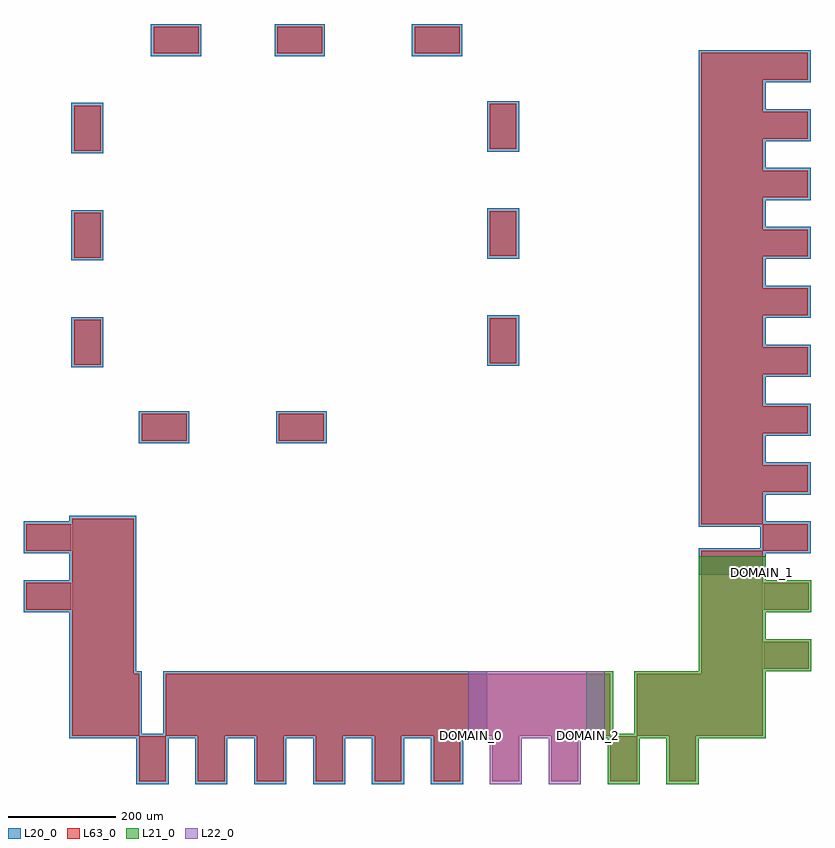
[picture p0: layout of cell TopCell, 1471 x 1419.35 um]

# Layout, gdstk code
import gdstk
lib = gdstk.Library(unit=1e-6, precision=1e-09)
def R(c, l, rs):  # rectangles x0, y0, x1, y1
    for r in rs: c.add(gdstk.rectangle(r[:2], r[2:], *l))
def A(c, l, x, y, w, h, nx, ny, dx, dy):  # array of equal rectangles
    R(c, l, [(x+i*dx, y+j*dy, x+i*dx+w, y+j*dy+h) for i in range(nx) for j in range(ny)])
L20_0 = (20, 0)
L21_0 = (21, 0)
L22_0 = (22, 0)
L63_0 = (63, 0)

bottompads = lib.new_cell('BottomPads')
A(bottompads, L63_0, 210.5, 0, 50, 84, 10, 1, 110, 0)
A(bottompads, L63_0, 260.26, 85.5, 20.48, 115, 3, 1, 20, 0)
A(bottompads, L63_0, 320.26, 85.5, 50.48, 115, 7, 1, 110, 0)
A(bottompads, L63_0, 370.26, 85.5, 20.48, 115, 3, 1, 20, 0)
A(bottompads, L63_0, 480.26, 85.5, 20.48, 115, 3, 1, 20, 0)
A(bottompads, L63_0, 590.26, 85.5, 20.48, 115, 3, 1, 20, 0)
A(bottompads, L63_0, 700.26, 85.5, 20.48, 115, 3, 1, 20, 0)
A(bottompads, L63_0, 920.26, 85.5, 20.48, 115, 3, 1, 20, 0)
A(bottompads, L63_0, 1140.26, 85.5, 20.48, 115, 3, 1, 20, 0)
R(bottompads, L63_0, [(85.5,85.5,200.74,200.74), (200.26,85.5,210.74,200.5), (810.26,85.5,830.74,200.5), (830.5,85.5,855.5,200.5), (855.26,85.5,860.74,200.5), (860.26,85.5,870.74,200.5), (1030.26,85.5,1050.74,200.5), (1050.5,85.5,1075.5,200.5), (1075.26,85.5,1080.74,200.5), (1080.26,85.5,1090.74,200.5), (1200.26,85.5,1250.74,200.5), (1250.26,85.5,1260.74,200.5), (1260.26,85.5,1375.5,200.74)])
bottompads.add(gdstk.Label('PAD50LA', (370.5,0), layer=10, texttype=0))
bottompads.add(gdstk.Label('PAD50LA', (480.5,0), layer=10, texttype=0))
bottompads.add(gdstk.Label('PAD50LA', (1140.5,0), layer=10, texttype=0))
bottompads.add(gdstk.Label('PAD50LA', (1030.5,0), layer=10, texttype=0))
bottompads.add(gdstk.Label('PAD50LA', (920.5,0), layer=10, texttype=0))
bottompads.add(gdstk.Label('PAD50LA', (810.5,0), layer=10, texttype=0))
bottompads.add(gdstk.Label('PAD50LA', (590.5,0), layer=10, texttype=0))
bottompads.add(gdstk.Label('PAD50LA', (1250.5,0), layer=10, texttype=0))
bottompads.add(gdstk.Label('PAD50LA', (260.5,0), layer=10, texttype=0))
bottompads.add(gdstk.Label('PAD50LA', (700.5,0), layer=10, texttype=0))
bottompads.add(gdstk.Label('PCORNERA', (85.5,85.5), layer=10, texttype=0))
bottompads.add(gdstk.Label('PCORNERA', (1375.5,85.5), layer=10, texttype=0))
bottompads.add(gdstk.Label('PDB1AC', (650.5,85.5), layer=10, texttype=0))
bottompads.add(gdstk.Label('PFILLER10A', (200.5,85.5), layer=10, texttype=0))
bottompads.add(gdstk.Label('PFILLER10A', (860.5,85.5), layer=10, texttype=0))
bottompads.add(gdstk.Label('PFILLER10A', (1250.5,85.5), layer=10, texttype=0))
bottompads.add(gdstk.Label('PFILLER10A', (1080.5,85.5), layer=10, texttype=0))
bottompads.add(gdstk.Label('PFILLER20A', (720.5,85.5), layer=10, texttype=0))
bottompads.add(gdstk.Label('PFILLER20A', (810.5,85.5), layer=10, texttype=0))
bottompads.add(gdstk.Label('PFILLER20A', (1030.5,85.5), layer=10, texttype=0))
bottompads.add(gdstk.Label('PFILLER20A', (1180.5,85.5), layer=10, texttype=0))
bottompads.add(gdstk.Label('PFILLER20A', (1160.5,85.5), layer=10, texttype=0))
bottompads.add(gdstk.Label('PFILLER20A', (1140.5,85.5), layer=10, texttype=0))
bottompads.add(gdstk.Label('PFILLER20A', (410.5,85.5), layer=10, texttype=0))
bottompads.add(gdstk.Label('PFILLER20A', (390.5,85.5), layer=10, texttype=0))
bottompads.add(gdstk.Label('PFILLER20A', (370.5,85.5), layer=10, texttype=0))
bottompads.add(gdstk.Label('PFILLER20A', (630.5,85.5), layer=10, texttype=0))
bottompads.add(gdstk.Label('PFILLER20A', (610.5,85.5), layer=10, texttype=0))
bottompads.add(gdstk.Label('PFILLER20A', (590.5,85.5), layer=10, texttype=0))
bottompads.add(gdstk.Label('PFILLER20A', (960.5,85.5), layer=10, texttype=0))
bottompads.add(gdstk.Label('PFILLER20A', (940.5,85.5), layer=10, texttype=0))
bottompads.add(gdstk.Label('PFILLER20A', (700.5,85.5), layer=10, texttype=0))
bottompads.add(gdstk.Label('PFILLER20A', (920.5,85.5), layer=10, texttype=0))
bottompads.add(gdstk.Label('PFILLER20A', (520.5,85.5), layer=10, texttype=0))
bottompads.add(gdstk.Label('PFILLER20A', (500.5,85.5), layer=10, texttype=0))
bottompads.add(gdstk.Label('PFILLER20A', (480.5,85.5), layer=10, texttype=0))
bottompads.add(gdstk.Label('PFILLER20A', (300.5,85.5), layer=10, texttype=0))
bottompads.add(gdstk.Label('PFILLER20A', (280.5,85.5), layer=10, texttype=0))
bottompads.add(gdstk.Label('PFILLER20A', (260.5,85.5), layer=10, texttype=0))
bottompads.add(gdstk.Label('PFILLER20A', (740.5,85.5), layer=10, texttype=0))
bottompads.add(gdstk.Label('PFILLER5A', (855.5,85.5), layer=10, texttype=0))
bottompads.add(gdstk.Label('PFILLER5A', (1075.5,85.5), layer=10, texttype=0))
bottompads.add(gdstk.Label('PRCUTA', (830.5,85.5), layer=10, texttype=0))
bottompads.add(gdstk.Label('PRCUTA', (1050.5,85.5), layer=10, texttype=0))
bottompads.add(gdstk.Label('PVDD3AC', (980.5,85.5), layer=10, texttype=0))
bottompads.add(gdstk.Label('PVDD3AC', (320.5,85.5), layer=10, texttype=0))
bottompads.add(gdstk.Label('PVDD3AC', (760.5,85.5), layer=10, texttype=0))
bottompads.add(gdstk.Label('PVDD3AC', (1200.5,85.5), layer=10, texttype=0))
bottompads.add(gdstk.Label('PVDD3AC', (540.5,85.5), layer=10, texttype=0))
bottompads.add(gdstk.Label('PVSS3AC', (870.5,85.5), layer=10, texttype=0))
bottompads.add(gdstk.Label('PVSS3AC', (430.5,85.5), layer=10, texttype=0))

leftpads = lib.new_cell('LeftPads')
A(leftpads, L63_0, 85.5, 210.26, 115, 50.48, 1, 3, 0, 110)
A(leftpads, L63_0, 85.5, 260.26, 115, 20.48, 1, 3, 0, 20)
A(leftpads, L63_0, 85.5, 370.26, 115, 20.48, 1, 3, 0, 20)
A(leftpads, L63_0, 88.995, 777.955, 50, 84, 1, 3, 0, 200)
R(leftpads, L63_0, [(85.5,200.26,200.5,210.74), (0,320.5,84,370.5), (0,430.5,84,480.5), (85.5,480.26,200.5,490.74), (215.37,636.395,299.37,686.395), (471.75,636.395,555.75,686.395)])
leftpads.add(gdstk.Label('PAD50LA', (84,430.5), layer=10, texttype=0))
leftpads.add(gdstk.Label('PAD50LA', (84,320.5), layer=10, texttype=0))
leftpads.add(gdstk.Label('PDB1AC', (85.5,430.5), layer=10, texttype=0))
leftpads.add(gdstk.Label('PDB1AC', (85.5,320.5), layer=10, texttype=0))
leftpads.add(gdstk.Label('PFILLER10A', (200.5,480.5), layer=10, texttype=0))
leftpads.add(gdstk.Label('PFILLER10A', (85.5,210.5), layer=10, texttype=0))
leftpads.add(gdstk.Label('PFILLER20A', (85.5,300.5), layer=10, texttype=0))
leftpads.add(gdstk.Label('PFILLER20A', (85.5,280.5), layer=10, texttype=0))
leftpads.add(gdstk.Label('PFILLER20A', (85.5,260.5), layer=10, texttype=0))
leftpads.add(gdstk.Label('PFILLER20A', (85.5,370.5), layer=10, texttype=0))
leftpads.add(gdstk.Label('PFILLER20A', (85.5,390.5), layer=10, texttype=0))
leftpads.add(gdstk.Label('PFILLER20A', (85.5,410.5), layer=10, texttype=0))
leftpads.add(gdstk.Label('PAD50LAR_TRL', (88.995,861.955), layer=10, texttype=0))
leftpads.add(gdstk.Label('PAD50LAR_TRL', (88.995,1061.955), layer=10, texttype=0))
leftpads.add(gdstk.Label('PAD50LAR_TRL', (88.995,1261.955), layer=10, texttype=0))
leftpads.add(gdstk.Label('PAD50LAR_TRL', (215.37,636.395), layer=10, texttype=0))
leftpads.add(gdstk.Label('PAD50LAR_TRL', (471.75,636.395), layer=10, texttype=0))
leftpads.add(gdstk.Label('PVDD3AC', (85.5,210.5), layer=10, texttype=0))

rightpads = lib.new_cell('RightPads')
A(rightpads, L63_0, 1260.5, 260.26, 115, 20.48, 1, 3, 0, 20)
A(rightpads, L63_0, 1375.5, 430.5, 84, 50, 1, 9, 0, 110)
A(rightpads, L63_0, 1260.5, 480.26, 115, 20.48, 1, 3, 0, 20)
A(rightpads, L63_0, 1260.5, 540.26, 115, 50.48, 1, 8, 0, 110)
A(rightpads, L63_0, 1260.5, 590.26, 115, 20.48, 1, 3, 0, 20)
A(rightpads, L63_0, 1260.5, 700.26, 115, 20.48, 1, 3, 0, 20)
A(rightpads, L63_0, 1260.5, 810.26, 115, 20.48, 1, 3, 0, 20)
A(rightpads, L63_0, 1260.5, 920.26, 115, 20.48, 1, 3, 0, 20)
A(rightpads, L63_0, 1260.5, 1030.26, 115, 20.48, 1, 3, 0, 20)
A(rightpads, L63_0, 1260.5, 1140.26, 115, 20.48, 1, 3, 0, 20)
A(rightpads, L63_0, 1260.5, 1250.26, 115, 20.48, 1, 3, 0, 20)
R(rightpads, L63_0, [(1260.5,200.26,1375.5,210.74), (1260.5,210.26,1375.5,260.74), (1377,210.5,1461,260.5), (1260.5,320.26,1375.5,370.74), (1377,320.5,1461,370.5), (1260.5,370.26,1375.5,390.74), (1260.5,390.5,1375.5,415.5), (1260.5,415.26,1375.5,420.74), (1260.5,420.26,1375.5,430.74), (865.345,781.09,915.345,865.09)])
rightpads.add(gdstk.Label('PAD50LA', (1377,210.5), layer=10, texttype=0))
rightpads.add(gdstk.Label('PAD50LA', (1377,320.5), layer=10, texttype=0))
rightpads.add(gdstk.Label('PDB1AC', (1375.5,210.5), layer=10, texttype=0))
rightpads.add(gdstk.Label('PDB1AC', (1375.5,320.5), layer=10, texttype=0))
rightpads.add(gdstk.Label('PFILLER10A', (1375.5,420.5), layer=10, texttype=0))
rightpads.add(gdstk.Label('PFILLER10A', (1375.5,200.5), layer=10, texttype=0))
rightpads.add(gdstk.Label('PFILLER20A', (1375.5,300.5), layer=10, texttype=0))
rightpads.add(gdstk.Label('PFILLER20A', (1375.5,280.5), layer=10, texttype=0))
rightpads.add(gdstk.Label('PFILLER20A', (1375.5,260.5), layer=10, texttype=0))
rightpads.add(gdstk.Label('PFILLER20A', (1375.5,370.5), layer=10, texttype=0))
rightpads.add(gdstk.Label('PFILLER5A', (1375.5,415.5), layer=10, texttype=0))
rightpads.add(gdstk.Label('PAD50LAR_TRL', (865.345,865.09), layer=10, texttype=0))
rightpads.add(gdstk.Label('PRCUTA', (1375.5,390.5), layer=10, texttype=0))
rightpads.add(gdstk.Label('PAD50LAR_TRL', (1375.5,590.5), layer=10, texttype=0))
rightpads.add(gdstk.Label('PAD50LAR_TRL', (1375.5,700.5), layer=10, texttype=0))
rightpads.add(gdstk.Label('PAD50LAR_TRL', (1375.5,810.5), layer=10, texttype=0))
rightpads.add(gdstk.Label('PAD50LAR_TRL', (1375.5,920.5), layer=10, texttype=0))
rightpads.add(gdstk.Label('PAD50LAR_TRL', (1375.5,1030.5), layer=10, texttype=0))
rightpads.add(gdstk.Label('PAD50LAR_TRL', (1375.5,1140.5), layer=10, texttype=0))
rightpads.add(gdstk.Label('PAD50LAR_TRL', (1375.5,1250.5), layer=10, texttype=0))
rightpads.add(gdstk.Label('PAD50LAR_TRL', (1375.5,1360.5), layer=10, texttype=0))
rightpads.add(gdstk.Label('PAD50LAR_TRL', (1375.5,480.5), layer=10, texttype=0))
rightpads.add(gdstk.Label('PDB2AC', (1375.5,1360.5), layer=10, texttype=0))
rightpads.add(gdstk.Label('PDB2AC', (1375.5,700.5), layer=10, texttype=0))
rightpads.add(gdstk.Label('PDB2AC', (1375.5,810.5), layer=10, texttype=0))
rightpads.add(gdstk.Label('PDB2AC', (1375.5,1030.5), layer=10, texttype=0))
rightpads.add(gdstk.Label('PDB2AC', (1375.5,1140.5), layer=10, texttype=0))
rightpads.add(gdstk.Label('PDB2AC', (1375.5,1250.5), layer=10, texttype=0))
rightpads.add(gdstk.Label('PFILLER20A', (1375.5,1140.5), layer=10, texttype=0))
rightpads.add(gdstk.Label('PFILLER20A', (1375.5,1160.5), layer=10, texttype=0))
rightpads.add(gdstk.Label('PFILLER20A', (1375.5,1180.5), layer=10, texttype=0))
rightpads.add(gdstk.Label('PFILLER20A', (1375.5,1050.5), layer=10, texttype=0))
rightpads.add(gdstk.Label('PFILLER20A', (1375.5,1030.5), layer=10, texttype=0))
rightpads.add(gdstk.Label('PFILLER20A', (1375.5,1070.5), layer=10, texttype=0))
rightpads.add(gdstk.Label('PFILLER20A', (1375.5,940.5), layer=10, texttype=0))
rightpads.add(gdstk.Label('PFILLER20A', (1375.5,920.5), layer=10, texttype=0))
rightpads.add(gdstk.Label('PFILLER20A', (1375.5,960.5), layer=10, texttype=0))
rightpads.add(gdstk.Label('PFILLER20A', (1375.5,810.5), layer=10, texttype=0))
rightpads.add(gdstk.Label('PFILLER20A', (1375.5,830.5), layer=10, texttype=0))
rightpads.add(gdstk.Label('PFILLER20A', (1375.5,850.5), layer=10, texttype=0))
rightpads.add(gdstk.Label('PFILLER20A', (1375.5,700.5), layer=10, texttype=0))
rightpads.add(gdstk.Label('PFILLER20A', (1375.5,720.5), layer=10, texttype=0))
rightpads.add(gdstk.Label('PFILLER20A', (1375.5,740.5), layer=10, texttype=0))
rightpads.add(gdstk.Label('PFILLER20A', (1375.5,590.5), layer=10, texttype=0))
rightpads.add(gdstk.Label('PFILLER20A', (1375.5,610.5), layer=10, texttype=0))
rightpads.add(gdstk.Label('PFILLER20A', (1375.5,630.5), layer=10, texttype=0))
rightpads.add(gdstk.Label('PFILLER20A', (1375.5,480.5), layer=10, texttype=0))
rightpads.add(gdstk.Label('PFILLER20A', (1375.5,500.5), layer=10, texttype=0))
rightpads.add(gdstk.Label('PFILLER20A', (1375.5,520.5), layer=10, texttype=0))
rightpads.add(gdstk.Label('PFILLER20A', (1375.5,1290.5), layer=10, texttype=0))
rightpads.add(gdstk.Label('PFILLER20A', (1375.5,1250.5), layer=10, texttype=0))
rightpads.add(gdstk.Label('PFILLER20A', (1375.5,1270.5), layer=10, texttype=0))
rightpads.add(gdstk.Label('PVDD3AC', (1375.5,920.5), layer=10, texttype=0))
rightpads.add(gdstk.Label('PVSS3AC', (1375.5,590.5), layer=10, texttype=0))

toppads = lib.new_cell('TopPads')
R(toppads, L63_0, [(865.345,981.09,915.345,1065.09), (865.345,1181.09,915.345,1265.09), (237.57,1359.27,321.57,1409.27), (468.54,1359.27,552.54,1409.27), (725.225,1359.35,809.225,1409.35)])
toppads.add(gdstk.Label('PAD50LAR_TRL', (865.345,1265.09), layer=10, texttype=0))
toppads.add(gdstk.Label('PAD50LAR_TRL', (865.345,1065.09), layer=10, texttype=0))
toppads.add(gdstk.Label('PAD50LAR_TRL', (725.225,1359.35), layer=10, texttype=0))
toppads.add(gdstk.Label('PAD50LAR_TRL', (468.54,1359.27), layer=10, texttype=0))
toppads.add(gdstk.Label('PAD50LAR_TRL', (237.57,1359.27), layer=10, texttype=0))

topcell = lib.new_cell('TopCell')
A(topcell, L20_0, 205.5, -5, 60, 94, 6, 1, 110, 0)
A(topcell, L20_0, 255.26, 80.5, 30.48, 125, 3, 1, 20, 0)
A(topcell, L20_0, 315.26, 80.5, 60.48, 125, 5, 1, 110, 0)
A(topcell, L20_0, 365.26, 80.5, 30.48, 125, 3, 1, 20, 0)
A(topcell, L20_0, 475.26, 80.5, 30.48, 125, 3, 1, 20, 0)
A(topcell, L20_0, 585.26, 80.5, 30.48, 125, 3, 1, 20, 0)
A(topcell, L20_0, 695.26, 80.5, 30.48, 125, 3, 1, 20, 0)
A(topcell, L20_0, 80.5, 205.26, 125, 60.48, 1, 3, 0, 110)
A(topcell, L20_0, 80.5, 255.26, 125, 30.48, 1, 3, 0, 20)
A(topcell, L20_0, 80.5, 365.26, 125, 30.48, 1, 3, 0, 20)
A(topcell, L20_0, 1370.5, 425.5, 94, 60, 1, 9, 0, 110)
A(topcell, L20_0, 1255.5, 475.26, 125, 30.48, 1, 3, 0, 20)
A(topcell, L20_0, 1255.5, 535.26, 125, 60.48, 1, 8, 0, 110)
A(topcell, L20_0, 1255.5, 585.26, 125, 30.48, 1, 3, 0, 20)
A(topcell, L20_0, 1255.5, 695.26, 125, 30.48, 1, 3, 0, 20)
A(topcell, L20_0, 83.995, 772.955, 60, 94, 1, 3, 0, 200)
A(topcell, L20_0, 860.345, 776.09, 60, 94, 1, 3, 0, 200)
A(topcell, L20_0, 1255.5, 805.26, 125, 30.48, 1, 3, 0, 20)
A(topcell, L20_0, 1255.5, 915.26, 125, 30.48, 1, 3, 0, 20)
A(topcell, L20_0, 1255.5, 1025.26, 125, 30.48, 1, 3, 0, 20)
A(topcell, L20_0, 1255.5, 1135.26, 125, 30.48, 1, 3, 0, 20)
A(topcell, L20_0, 1255.5, 1245.26, 125, 30.48, 1, 3, 0, 20)
R(topcell, L20_0, [(80.5,80.5,205.74,205.74), (195.26,80.5,215.74,205.5), (805.26,80.5,835.74,205.5), (825.5,80.5,860.5,205.5), (80.5,195.26,205.5,215.74), (-5,315.5,89,375.5), (1255.5,385.5,1380.5,420.5), (1255.5,410.26,1380.5,425.74), (1255.5,415.26,1380.5,435.74), (-5,425.5,89,485.5), (80.5,475.26,205.5,495.74), (210.37,631.395,304.37,691.395), (466.75,631.395,560.75,691.395), (232.57,1354.27,326.57,1414.27), (463.54,1354.27,557.54,1414.27), (720.225,1354.35,814.225,1414.35)])
A(topcell, L21_0, 1135.26, 80.5, 30.48, 125, 3, 1, 20, 0)
A(topcell, L21_0, 1255.5, 255.26, 125, 30.48, 1, 3, 0, 20)
R(topcell, L21_0, [(1085.5,-5,1145.5,89), (1195.5,-5,1255.5,89), (1045.5,80.5,1080.5,205.5), (1070.26,80.5,1085.74,205.5), (1075.26,80.5,1095.74,205.5), (1195.26,80.5,1255.74,205.5), (1245.26,80.5,1265.74,205.5), (1255.26,80.5,1380.5,205.74), (1255.5,195.26,1380.5,215.74), (1255.5,205.26,1380.5,265.74), (1372,205.5,1466,265.5), (1255.5,315.26,1380.5,375.74), (1372,315.5,1466,375.5), (1255.5,365.26,1380.5,395.74), (1255.5,385.5,1380.5,420.5)])
A(topcell, L22_0, 915.26, 80.5, 30.48, 125, 3, 1, 20, 0)
R(topcell, L22_0, [(865.5,-5,925.5,89), (975.5,-5,1035.5,89), (825.5,80.5,860.5,205.5), (850.26,80.5,865.74,205.5), (855.26,80.5,875.74,205.5), (865.26,80.5,925.74,205.5), (975.26,80.5,1035.74,205.5), (1025.26,80.5,1055.74,205.5), (1045.5,80.5,1080.5,205.5)])
topcell.add(gdstk.Reference(bottompads, (0,0)))
topcell.add(gdstk.Reference(leftpads, (0,0)))
topcell.add(gdstk.Reference(rightpads, (0,0)))
topcell.add(gdstk.Reference(toppads, (0,0)))
topcell.add(gdstk.Label('DOMAIN_0', (830.5,85.5), layer=20, texttype=0))
topcell.add(gdstk.Label('DOMAIN_1', (1375.5,390.5), layer=21, texttype=0))
topcell.add(gdstk.Label('DOMAIN_2', (1050.5,85.5), layer=22, texttype=0))

lib.write_gds('TopCell.gds')
